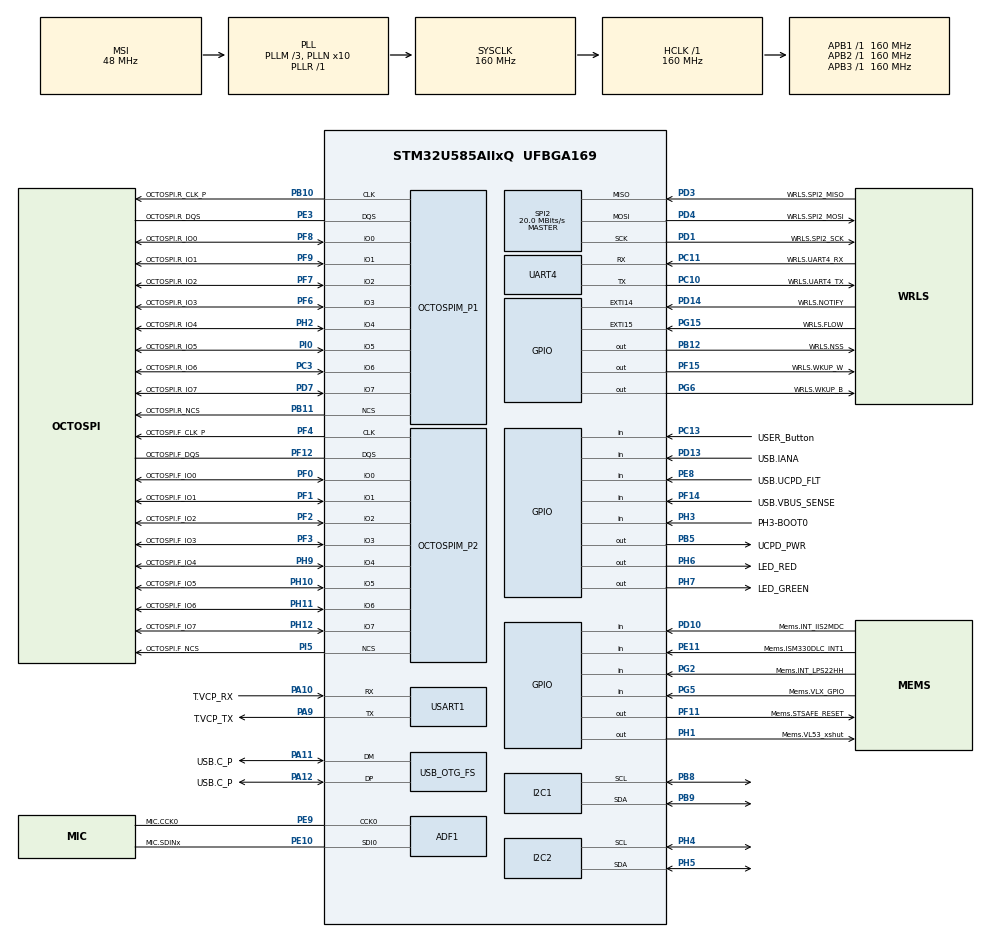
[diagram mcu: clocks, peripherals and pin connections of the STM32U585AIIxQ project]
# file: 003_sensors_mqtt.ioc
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CORTEX_M33_NS.userName=CORTEX_M33
GPDMA1.DESTINC_GPDMACH4=DMA_DINC_INCREMENTED
GPDMA1.DIRECTION_GPDMACH5=DMA_MEMORY_TO_PERIPH
GPDMA1.IPHANDLE_GPDMACH4-SIMPLEREQUEST_GPDMACH4=__NULL
GPDMA1.IPHANDLE_GPDMACH5-SIMPLEREQUEST_GPDMACH5=__NULL
GPDMA1.PRIORITY_GPDMACH4=DMA_LOW_PRIORITY_HIGH_WEIGHT
GPDMA1.PRIORITY_GPDMACH5=DMA_LOW_PRIORITY_HIGH_WEIGHT
GPDMA1.REQUEST_GPDMACH4=GPDMA1_REQUEST_SPI2_RX
GPDMA1.REQUEST_GPDMACH5=GPDMA1_REQUEST_SPI2_TX
GPDMA1.SRCINC_GPDMACH5=DMA_SINC_INCREMENTED
GPDMA1.TRANSFERALLOCATEDPORTDEST_GPDMACH4=DMA_DEST_ALLOCATED_PORT1
GPDMA1.TRANSFERALLOCATEDPORTDEST_GPDMACH5=DMA_DEST_ALLOCATED_PORT1
I2C1.Timing=0x30909DEC
I2C2.Timing=0x30909DEC
Mcu.Family=STM32U5
Mcu.Name=STM32U585AIIxQ
Mcu.Package=UFBGA169
NETXDUO.NXD_MQTT_REQUIRE_TLS=true
NETXDUO.NX_APP_MEM_POOL_SIZE=(160 * 1024)
NETXDUO.NX_DISABLE_LOOPBACK_INTERFACE=true
NETXDUO.NX_DNS_IP_GATEWAY_AND_DNS_SERVER=true
NETXDUO.NX_DRIVER_DEFERRED_PROCESSING=true
NETXDUO.NX_ENABLE_EXTENDED_NOTIFY_SUPPORT=true
NETXDUO.NX_ENABLE_IP_RAW_PACKET_FILTER=true
NETXDUO.NX_IP_PERIODIC_RATE=1000
NETXDUO.NX_PHYSICAL_HEADER=44
NETXDUO.NX_SECURE_ENABLE=true
NETXDUO.NX_TCP_IMMEDIATE_ACK=true
NVIC.EXTI14_IRQn=true\:2\:0\:true\:false\:true\:false\:true\:true\:true
NVIC.EXTI15_IRQn=true\:2\:0\:true\:false\:true\:false\:true\:true\:true
NVIC.GPDMA1_Channel4_IRQn=true\:2\:0\:true\:false\:true\:false\:false\:true\:true
NVIC.GPDMA1_Channel5_IRQn=true\:2\:0\:true\:false\:true\:false\:false\:true\:true
NVIC.PriorityGroup=NVIC_PRIORITYGROUP_4
NVIC.SPI2_IRQn=true\:2\:0\:true\:false\:true\:false\:true\:true\:true
NVIC.TIM6_IRQn=true\:0\:0\:true\:false\:true\:false\:false\:true\:true
NVIC.TimeBase=TIM6_IRQn
NVIC.TimeBaseIP=TIM6
NVIC.USART1_IRQn=true\:3\:0\:true\:false\:true\:false\:true\:true\:true
OCTOSPI1.ChipSelectBoundary=10
OCTOSPI1.ClockPrescaler=2
OCTOSPI1.DelayBlockBypass=HAL_OSPI_DELAY_BLOCK_USED
OCTOSPI1.DelayHoldQuarterCycle=HAL_OSPI_DHQC_ENABLE
OCTOSPI1.DeviceSize=23
OCTOSPI1.MemoryType=HAL_OSPI_MEMTYPE_APMEMORY
OCTOSPI1.Refresh=100
OCTOSPI2.ChipSelectBoundary=0
OCTOSPI2.ChipSelectHighTime=2
OCTOSPI2.ClockPrescaler=4
OCTOSPI2.DelayBlockBypass=HAL_OSPI_DELAY_BLOCK_USED
OCTOSPI2.DelayHoldQuarterCycle=HAL_OSPI_DHQC_ENABLE
OCTOSPI2.DeviceSize=26
OCTOSPI2.FifoThreshold=4
OCTOSPI2.MemoryType=HAL_OSPI_MEMTYPE_MACRONIX
PA10.GPIO_Label=T.VCP_RX
PA10.Mode=Asynchronous
PA10.Signal=USART1_RX
PA11.GPIO_Label=USB.C_P
PA11.Mode=Device_Only
PA11.Signal=USB_OTG_FS_DM
PA12.GPIO_Label=USB.C_P
PA12.Mode=Device_Only
PA12.Signal=USB_OTG_FS_DP
PA13\ (JTMS/SWDIO).GPIO_Label=T.SWDIO
PA13\ (JTMS/SWDIO).Mode=Trace_Asynchronous_SW
PA13\ (JTMS/SWDIO).Signal=DEBUG_JTMS-SWDIO
PA14\ (JTCK/SWCLK).GPIO_Label=T.SWCLK
PA14\ (JTCK/SWCLK).Mode=Trace_Asynchronous_SW
PA14\ (JTCK/SWCLK).Signal=DEBUG_JTCK-SWCLK
PA9.GPIO_Label=T.VCP_TX
PA9.Mode=Asynchronous
PA9.Signal=USART1_TX
PB1.GPIO_Label=MIC.SDIN0
PB1.Signal=MDF1_SDI0
PB10.GPIO_Label=OCTOSPI.R_CLK_P
PB10.Mode=O1_P1_CLK
PB10.Signal=OCTOSPIM_P1_CLK
PB11.GPIO_Label=OCTOSPI.R_NCS
PB11.Mode=OCTOSPI1_Port1_NCS
PB11.Signal=OCTOSPIM_P1_NCS
PB12.GPIO_Label=WRLS.NSS
PB12.GPIO_Speed=GPIO_SPEED_FREQ_HIGH
PB12.PinState=GPIO_PIN_SET
PB12.Signal=GPIO_Output
PB15.GPIO_Label=USB.UCPD_CC2
PB15.Signal=UCPD1_CC2
PB3\ (JTDO/TRACESWO).GPIO_Label=T.SWO
PB3\ (JTDO/TRACESWO).Mode=Trace_Asynchronous_SW
PB3\ (JTDO/TRACESWO).Signal=DEBUG_JTDO-SWO
PB5.GPIO_Label=UCPD_PWR
PB5.Signal=GPIO_Output
PB8.Mode=I2C
PB8.Signal=I2C1_SCL
PB9.Mode=I2C
PB9.Signal=I2C1_SDA
PC10.GPIO_Label=WRLS.UART4_TX
PC10.Mode=Asynchronous
PC10.Signal=UART4_TX
PC11.GPIO_Label=WRLS.UART4_RX
PC11.Mode=Asynchronous
PC11.Signal=UART4_RX
PC13.GPIO_Label=USER_Button
PC13.Signal=GPIO_Input
PC14-OSC32_IN\ (PC14).GPIO_Label=PC14-OSC32_IN
PC14-OSC32_IN\ (PC14).Mode=LSE-External-Oscillator
PC14-OSC32_IN\ (PC14).Signal=RCC_OSC32_IN
PC15-OSC32_OUT\ (PC15).GPIO_Label=PC15-OSC32_OUT
PC15-OSC32_OUT\ (PC15).Mode=LSE-External-Oscillator
PC15-OSC32_OUT\ (PC15).Signal=RCC_OSC32_OUT
PC3.GPIO_Label=OCTOSPI.R_IO6
PC3.Mode=OCTOSPI1_IOH_Port1H
PC3.Signal=OCTOSPIM_P1_IO6
PD1.GPIO_Label=WRLS.SPI2_SCK
PD1.GPIO_Speed=GPIO_SPEED_FREQ_HIGH
PD1.Mode=Full_Duplex_Master
PD1.Signal=SPI2_SCK
PD10.GPIO_Label=Mems.INT_IIS2MDC
PD10.Signal=GPIO_Input
PD13.GPIO_Label=USB.IANA
PD13.Signal=GPIO_Input
PD14.GPIO_Label=WRLS.NOTIFY
PD14.Signal=GPXTI14
PD3.GPIO_Label=WRLS.SPI2_MISO
PD3.GPIO_Speed=GPIO_SPEED_FREQ_HIGH
PD3.Mode=Full_Duplex_Master
PD3.Signal=SPI2_MISO
PD4.GPIO_Label=WRLS.SPI2_MOSI
PD4.GPIO_Speed=GPIO_SPEED_FREQ_HIGH
PD4.Mode=Full_Duplex_Master
PD4.Signal=SPI2_MOSI
PD7.GPIO_Label=OCTOSPI.R_IO7
PD7.Mode=OCTOSPI1_IOH_Port1H
PD7.Signal=OCTOSPIM_P1_IO7
PE10.GPIO_Label=MIC.SDINx
PE10.Mode=MOD_ADF_CCK
PE10.Signal=ADF1_SDI0
PE11.GPIO_Label=Mems.ISM330DLC_INT1
PE11.Signal=GPIO_Input
PE3.GPIO_Label=OCTOSPI.R_DQS
PE3.Mode=OCTOSPI1_Port1_DQS
PE3.Signal=OCTOSPIM_P1_DQS
PE8.GPIO_Label=USB.UCPD_FLT
PE8.Signal=GPIO_Input
PE9.GPIO_Label=MIC.CCK0
PE9.Mode=MOD_MDF_CCK0
PE9.Signal=ADF1_CCK0
PF0.GPIO_Label=OCTOSPI.F_IO0
PF0.Mode=OCTOSPI2_IOL_Port2L
PF0.Signal=OCTOSPIM_P2_IO0
PF1.GPIO_Label=OCTOSPI.F_IO1
PF1.Mode=OCTOSPI2_IOL_Port2L
PF1.Signal=OCTOSPIM_P2_IO1
PF10.GPIO_Label=MIC.CCK1
PF10.Signal=MDF1_CCK1
PF11.GPIO_Label=Mems.STSAFE_RESET
PF11.Signal=GPIO_Output
PF12.GPIO_Label=OCTOSPI.F_DQS
PF12.Mode=OCTOSPI2_Port2_DQS
PF12.Signal=OCTOSPIM_P2_DQS
PF14.GPIO_Label=USB.VBUS_SENSE
PF14.Signal=GPIO_Input
PF15.GPIO_Label=WRLS.WKUP_W
PF15.Signal=GPIO_Output
PF2.GPIO_Label=OCTOSPI.F_IO2
PF2.Mode=OCTOSPI2_IOL_Port2L
PF2.Signal=OCTOSPIM_P2_IO2
PF3.GPIO_Label=OCTOSPI.F_IO3
PF3.Mode=OCTOSPI2_IOL_Port2L
PF3.Signal=OCTOSPIM_P2_IO3
PF4.GPIO_Label=OCTOSPI.F_CLK_P
PF4.Mode=O2_P2_CLK
PF4.Signal=OCTOSPIM_P2_CLK
PF6.GPIO_Label=OCTOSPI.R_IO3
PF6.Mode=OCTOSPI1_IOL_Port1L
PF6.Signal=OCTOSPIM_P1_IO3
PF7.GPIO_Label=OCTOSPI.R_IO2
PF7.Mode=OCTOSPI1_IOL_Port1L
PF7.Signal=OCTOSPIM_P1_IO2
PF8.GPIO_Label=OCTOSPI.R_IO0
PF8.Mode=OCTOSPI1_IOL_Port1L
PF8.Signal=OCTOSPIM_P1_IO0
PF9.GPIO_Label=OCTOSPI.R_IO1
PF9.Mode=OCTOSPI1_IOL_Port1L
PF9.Signal=OCTOSPIM_P1_IO1
PG15.GPIO_Label=WRLS.FLOW
PG15.Signal=GPXTI15
PG2.GPIO_Label=Mems.INT_LPS22HH
PG2.Signal=GPIO_Input
PG5.GPIO_Label=Mems.VLX_GPIO
PG5.Signal=GPIO_Input
PG6.GPIO_Label=WRLS.WKUP_B
PG6.Signal=GPIO_Output
PH1-OSC_OUT\ (PH1).GPIO_Label=Mems.VL53_xshut
PH1-OSC_OUT\ (PH1).Signal=GPIO_Output
PH10.GPIO_Label=OCTOSPI.F_IO5
PH10.Mode=OCTOSPI2_IOH_Port2H
PH10.Signal=OCTOSPIM_P2_IO5
PH11.GPIO_Label=OCTOSPI.F_IO6
PH11.Mode=OCTOSPI2_IOH_Port2H
PH11.Signal=OCTOSPIM_P2_IO6
PH12.GPIO_Label=OCTOSPI.F_IO7
PH12.Mode=OCTOSPI2_IOH_Port2H
PH12.Signal=OCTOSPIM_P2_IO7
PH2.GPIO_Label=OCTOSPI.R_IO4
PH2.Mode=OCTOSPI1_IOH_Port1H
PH2.Signal=OCTOSPIM_P1_IO4
PH3-BOOT0.GPIO_Label=PH3-BOOT0
PH3-BOOT0.Signal=GPIO_Input
PH4.Mode=I2C
PH4.Signal=I2C2_SCL
PH5.Mode=I2C
PH5.Signal=I2C2_SDA
PH6.GPIO_Label=LED_RED
PH6.Signal=GPIO_Output
PH7.GPIO_Label=LED_GREEN
PH7.Signal=GPIO_Output
PH9.GPIO_Label=OCTOSPI.F_IO4
PH9.Mode=OCTOSPI2_IOH_Port2H
PH9.Signal=OCTOSPIM_P2_IO4
PI0.GPIO_Label=OCTOSPI.R_IO5
PI0.Mode=OCTOSPI1_IOH_Port1H
PI0.Signal=OCTOSPIM_P1_IO5
PI5.GPIO_Label=OCTOSPI.F_NCS
PI5.Mode=OCTOSPI2_Port2_NCS
PI5.Signal=OCTOSPIM_P2_NCS
PWR.PowerMode=PWR_SMPS_SUPPLY
ProjectManager.HeapSize=0x200
ProjectManager.StackSize=0x400
ProjectManager.TargetToolchain=STM32CubeIDE
RCC.ADCFreq_Value=16000000
RCC.AHBFreq_Value=160000000
RCC.APB1Freq_Value=160000000
RCC.APB1TimFreq_Value=160000000
RCC.APB2Freq_Value=160000000
RCC.APB2TimFreq_Value=160000000
RCC.APB3Freq_Value=160000000
RCC.CortexFreq_Value=160000000
RCC.DACCLockSelectionVirtual=RCC_DAC1CLKSOURCE_LSI
RCC.EPOD_VALUE=48000000
RCC.HCLKFreq_Value=160000000
RCC.HSE_VALUE=16000000
RCC.HSI48_VALUE=48000000
RCC.HSI_VALUE=16000000
RCC.LSIDIV_VALUE=32000
RCC.MSIClockRange=RCC_MSIRANGE_0
RCC.MSI_VALUE=48000000
RCC.PLL1R=1
RCC.PLLFRACN=0
RCC.PLLM=3
RCC.PLLN=10
RCC.SPI2CLockSelection=RCC_SPI2CLKSOURCE_PCLK1
RCC.SYSCLKFreq_VALUE=160000000
RCC.SYSCLKSource=RCC_SYSCLKSOURCE_PLLCLK
RCC.USBFreq_Value=48000000
RCC.VCOOutputFreq_Value=160000000
SPI2.BaudRatePrescaler=SPI_BAUDRATEPRESCALER_8
SPI2.CalculateBaudRate=20.0 MBits/s
SPI2.DataSize=SPI_DATASIZE_8BIT
SPI2.Direction=SPI_DIRECTION_2LINES
SPI2.Mode=SPI_MODE_MASTER
SPI2.NSSPMode=SPI_NSS_PULSE_DISABLE
SPI2.VirtualType=VM_MASTER
THREADX.TX_APP_MEM_POOL_SIZE=(2 * 1024)
THREADX.TX_MINIMUM_STACK=400
THREADX.TX_TIMER_TICKS_PER_SECOND=1000
USART1.VirtualMode-Asynchronous=VM_ASYNC
USB_OTG_FS.VirtualMode=Device_Only
VP_GPDMA1_VS_GPDMACH4.Mode=SIMPLEREQUEST_GPDMACH4
VP_GPDMA1_VS_GPDMACH5.Mode=SIMPLEREQUEST_GPDMACH5
VP_ICACHE_VS_ICACHE.Mode=DirectMappedCache
VP_LPBAMQUEUE_VS_QUEUE.Mode=QUEUEMODE
VP_LPBAM_VS_SIG1.Mode=SmartRun
VP_LPBAM_VS_SIG4.Mode=LPDMA1
VP_MEMORYMAP_VS_MEMORYMAP.Mode=CurAppReg
VP_NETXDUO_VS_AddonsOoDHCP.Mode=Addons_DHCP_Client
VP_NETXDUO_VS_AddonsOoDNS.Mode=Addons_DNS
VP_NETXDUO_VS_AddonsOoMQTT.Mode=Addons_MQTT
VP_NETXDUO_VS_AddonsOoSNTP.Mode=Addons_SNTP
VP_NETXDUO_VS_Crypto.Mode=Crypto
VP_NETXDUO_VS_NXOoCore.Mode=NX_Core
VP_NETXDUO_VS_TLS.Mode=TLS
VP_OCTOSPI1_VS_octo.Mode=octo_mode
VP_OCTOSPI2_VS_octo.Mode=octo_mode
VP_PWR_VS_DBSignals.Mode=DisableDeadBatterySignals
VP_PWR_VS_LPOM.Mode=PowerOptimisation
VP_PWR_VS_SECSignals.Mode=Security/Privilege
VP_RNG_VS_RNG.Mode=RNG_Activate
VP_SYS_VS_tim6.Mode=TIM6
VP_THREADX_VS_RTOSJjThreadXJjCoreJjDefault.Mode=Core_Default
VP_THREADX_VS_RTOSJjThreadXJjLow_Power_Support.Mode=Low_Power_Support
board=B-U585I-IOT02A

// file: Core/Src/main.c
/* USER CODE BEGIN Header */
/**
  ******************************************************************************
  * @file           : main.c
  * @brief          : Main program body
  ******************************************************************************
  * @attention
  *
  * Copyright (c) 2025 STMicroelectronics.
  * All rights reserved.
  *
  * This software is licensed under terms that can be found in the LICENSE file
  * in the root directory of this software component.
  * If no LICENSE file comes with this software, it is provided AS-IS.
  *
  ******************************************************************************
  */
/* USER CODE END Header */
#include "app_threadx.h"
#include "main.h"

/* USER CODE BEGIN Includes */
#include <stdio.h>
#include <stdlib.h>
#include <string.h>
#include <stdint.h>
#include <inttypes.h>
#if defined(__ICCARM__)
#include <LowLevelIOInterface.h>
#endif /* (__ICCARM__) */

#include "nx_driver_emw3080.h"

#include "io_pattern/mx_wifi_io.h"

/* USER CODE END Includes */

MDF_HandleTypeDef AdfHandle0;
MDF_FilterConfigTypeDef AdfFilterConfig0;

I2C_HandleTypeDef hi2c1;
I2C_HandleTypeDef hi2c2;

OSPI_HandleTypeDef hospi1;
OSPI_HandleTypeDef hospi2;

RNG_HandleTypeDef hrng;

SPI_HandleTypeDef hspi2;
DMA_HandleTypeDef handle_GPDMA1_Channel5;
DMA_HandleTypeDef handle_GPDMA1_Channel4;

UART_HandleTypeDef huart4;
UART_HandleTypeDef huart1;

PCD_HandleTypeDef hpcd_USB_OTG_FS;

/* USER CODE BEGIN PV */
#define CONSOLE_UART        huart1

#define UART_BUFFER_SIZE    (uint32_t)60
static char uart_buffer[UART_BUFFER_SIZE];
static __IO uint32_t uart_write_idx = 0;
/* USER CODE END PV */

void SystemClock_Config(void);
static void SystemPower_Config(void);
static void MX_GPIO_Init(void);
static void MX_GPDMA1_Init(void);
static void MX_ADF1_Init(void);
static void MX_I2C1_Init(void);
static void MX_I2C2_Init(void);
static void MX_ICACHE_Init(void);
static void MX_OCTOSPI1_Init(void);
static void MX_OCTOSPI2_Init(void);
static void MX_SPI2_Init(void);
static void MX_UART4_Init(void);
static void MX_USART1_UART_Init(void);
static void MX_USB_OTG_FS_PCD_Init(void);
static void MX_RNG_Init(void);

int main(void)
{

  /* MCU Configuration--------------------------------------------------------*/

  /* Reset of all peripherals, Initializes the Flash interface and the Systick. */
  HAL_Init();

  /* Configure the System Power */
  SystemPower_Config();

  /* Configure the system clock */
  SystemClock_Config();

  /* Initialize all configured peripherals */
  MX_GPIO_Init();
  MX_GPDMA1_Init();
  MX_ADF1_Init();
  MX_I2C1_Init();
  MX_I2C2_Init();
  MX_ICACHE_Init();
  MX_OCTOSPI1_Init();
  MX_OCTOSPI2_Init();
  MX_SPI2_Init();
  MX_UART4_Init();
  MX_USART1_UART_Init();
  MX_USB_OTG_FS_PCD_Init();
  MX_RNG_Init();
  /* USER CODE BEGIN 2 */

  printf("\r\n=== MXCHIP SPI Connection Test ===\r\n");

  /* Test 1: Check pin states */
  printf("Pin states:\r\n");
  printf("- WRLS_FLOW: %s\r\n", HAL_GPIO_ReadPin(WRLS_FLOW_GPIO_Port, WRLS_FLOW_Pin) ? "HIGH" : "LOW");
  printf("- WRLS_NOTIFY: %s\r\n", HAL_GPIO_ReadPin(WRLS_NOTIFY_GPIO_Port, WRLS_NOTIFY_Pin) ? "HIGH" : "LOW");
  printf("- WRLS_NSS: %s\r\n", HAL_GPIO_ReadPin(WRLS_NSS_GPIO_Port, WRLS_NSS_Pin) ? "HIGH" : "LOW");
  printf("- WRLS_WKUP_W: %s\r\n", HAL_GPIO_ReadPin(WRLS_WKUP_W_GPIO_Port, WRLS_WKUP_W_Pin) ? "HIGH" : "LOW");
  printf("- WRLS_WKUP_B: %s\r\n", HAL_GPIO_ReadPin(WRLS_WKUP_B_GPIO_Port, WRLS_WKUP_B_Pin) ? "HIGH" : "LOW");

  /* Test 2: Enable MXCHIP power */
  printf("\r\nEnabling MXCHIP power...\r\n");
  HAL_GPIO_WritePin(WRLS_WKUP_B_GPIO_Port, WRLS_WKUP_B_Pin, GPIO_PIN_SET);
  HAL_Delay(100);

  /* Test 3: Reset MXCHIP module */
  printf("Resetting MXCHIP module...\r\n");
  HAL_GPIO_WritePin(WRLS_WKUP_W_GPIO_Port, WRLS_WKUP_W_Pin, GPIO_PIN_RESET);
  HAL_Delay(100);
  HAL_GPIO_WritePin(WRLS_WKUP_W_GPIO_Port, WRLS_WKUP_W_Pin, GPIO_PIN_SET);
  HAL_Delay(2000); // Wait for module boot

  /* Test 4: Check pin states after reset */
  printf("Pin states after reset:\r\n");
  printf("- WRLS_FLOW: %s\r\n", HAL_GPIO_ReadPin(WRLS_FLOW_GPIO_Port, WRLS_FLOW_Pin) ? "HIGH" : "LOW");
  printf("- WRLS_NOTIFY: %s\r\n", HAL_GPIO_ReadPin(WRLS_NOTIFY_GPIO_Port, WRLS_NOTIFY_Pin) ? "HIGH" : "LOW");

  /* Test 5: SPI Communication Test */
  printf("\r\nTesting SPI communication...\r\n");

  // Select device (NSS low)
  HAL_GPIO_WritePin(WRLS_NSS_GPIO_Port, WRLS_NSS_Pin, GPIO_PIN_RESET);
  HAL_Delay(1);

  // Send test data
  uint8_t tx_data[4] = {0x00, 0xFF, 0xAA, 0x55};
  uint8_t rx_data[4] = {0x00, 0x00, 0x00, 0x00};
  HAL_StatusTypeDef spi_status = HAL_SPI_TransmitReceive(&hspi2, tx_data, rx_data, 4, 1000);

  // Deselect device (NSS high)
  HAL_GPIO_WritePin(WRLS_NSS_GPIO_Port, WRLS_NSS_Pin, GPIO_PIN_SET);

  printf("SPI Test Result: %s\r\n", (spi_status == HAL_OK) ? "OK" : "FAILED");
  printf("TX: [0x%02X, 0x%02X, 0x%02X, 0x%02X]\r\n", tx_data[0], tx_data[1], tx_data[2], tx_data[3]);
  printf("RX: [0x%02X, 0x%02X, 0x%02X, 0x%02X]\r\n", rx_data[0], rx_data[1], rx_data[2], rx_data[3]);
  printf("SPI ErrorCode: 0x%08lX\r\n", hspi2.ErrorCode);

  if (spi_status == HAL_OK) {
    printf("SPI communication is working!\r\n");
    HAL_GPIO_WritePin(LED_GREEN_GPIO_Port, LED_GREEN_Pin, GPIO_PIN_SET);
  } else {
    printf("SPI communication failed!\r\n");
    HAL_GPIO_WritePin(LED_RED_GPIO_Port, LED_RED_Pin, GPIO_PIN_SET);
  }

  printf("\r\n=== Test Complete ===\r\n");

  {
    {
      char welcome[] = "Welcome\n";
      uint16_t welcome_size = (uint16_t)strlen(welcome);
      HAL_UART_Transmit(&CONSOLE_UART, (uint8_t*)welcome, welcome_size, 0xFFFF);
    }
  }

  /* Force no buffer for the printf() usage. */
  setbuf(stdout, NULL);

  {
    char the_compiler[100] = {0};

#if defined(__GNUC__)
    strcat(the_compiler, " __GNUC__");
#endif /* __GNUC__ */
#if defined(__clang__)
    strcat(the_compiler, " __clang__");
#endif /* __clang__ */
#if defined(__ICCARM__)
    strcat(the_compiler, " __ICCARM__");
#endif /* __ICCARM__ */
#if defined(__ARMCC_VERSION)
    strcat(the_compiler, " __ARMCC_VERSION ");
    sprintf(&the_compiler[strlen(the_compiler)], "(%d)", __ARMCC_VERSION);
#endif /* __ARMCC_VERSION */
#if defined(__MICROLIB)
    strcat(the_compiler, " __MICROLIB");
#endif /* __MICROLIB */

    {
      const uint32_t start_counting = HAL_GetTick();
      static __IO uint32_t count = 0;
      for (__IO uint32_t i = 0; i < 1600000; i++)
      {
        count++;
      }
      {
        const uint32_t end_counting = HAL_GetTick();
        printf("\n[%" PRIu32 "] main(): %s %s  (%s)   : %" PRIu32 " ms for %" PRIu32 " loops\n\n",
               end_counting, __DATE__, __TIME__, the_compiler, end_counting - start_counting, count);
      }
    }
  }

  {
    int random_number = hardware_rand();

    /* Initialize the seed of the stdlib rand() software implementation. */
    srand((unsigned)random_number);
    printf("rand() seeded by %" PRId32 " returned %" PRId32 "\n\n", (int32_t)random_number, (int32_t)rand());
  }

  /* Start getchar under interrupt. */
  HAL_UART_Receive_IT(&CONSOLE_UART, (uint8_t *)&uart_buffer[0], 1);

  /* Force no buffer for the getc() usage. */
  setbuf(stdin, NULL);
  /* USER CODE END 2 */

  MX_ThreadX_Init();

  /* We should never get here as control is now taken by the scheduler */

  /* Infinite loop */
  while (1)
  {

  }
}

void SystemClock_Config(void)
{
  RCC_OscInitTypeDef RCC_OscInitStruct = {0};
  RCC_ClkInitTypeDef RCC_ClkInitStruct = {0};

  /** Configure the main internal regulator output voltage
  */
  if (HAL_PWREx_ControlVoltageScaling(PWR_REGULATOR_VOLTAGE_SCALE1) != HAL_OK)
  {
    Error_Handler();
  }

  /** Initializes the CPU, AHB and APB buses clocks
  */
  RCC_OscInitStruct.OscillatorType = RCC_OSCILLATORTYPE_HSI48|RCC_OSCILLATORTYPE_MSI;
  RCC_OscInitStruct.HSI48State = RCC_HSI48_ON;
  RCC_OscInitStruct.MSIState = RCC_MSI_ON;
  RCC_OscInitStruct.MSICalibrationValue = RCC_MSICALIBRATION_DEFAULT;
  RCC_OscInitStruct.MSIClockRange = RCC_MSIRANGE_0;
  RCC_OscInitStruct.PLL.PLLState = RCC_PLL_ON;
  RCC_OscInitStruct.PLL.PLLSource = RCC_PLLSOURCE_MSI;
  RCC_OscInitStruct.PLL.PLLMBOOST = RCC_PLLMBOOST_DIV4;
  RCC_OscInitStruct.PLL.PLLM = 3;
  RCC_OscInitStruct.PLL.PLLN = 10;
  RCC_OscInitStruct.PLL.PLLP = 2;
  RCC_OscInitStruct.PLL.PLLQ = 2;
  RCC_OscInitStruct.PLL.PLLR = 1;
  RCC_OscInitStruct.PLL.PLLRGE = RCC_PLLVCIRANGE_1;
  RCC_OscInitStruct.PLL.PLLFRACN = 0;
  if (HAL_RCC_OscConfig(&RCC_OscInitStruct) != HAL_OK)
  {
    Error_Handler();
  }

  /** Initializes the CPU, AHB and APB buses clocks
  */
  RCC_ClkInitStruct.ClockType = RCC_CLOCKTYPE_HCLK|RCC_CLOCKTYPE_SYSCLK
                              |RCC_CLOCKTYPE_PCLK1|RCC_CLOCKTYPE_PCLK2
                              |RCC_CLOCKTYPE_PCLK3;
  RCC_ClkInitStruct.SYSCLKSource = RCC_SYSCLKSOURCE_PLLCLK;
  RCC_ClkInitStruct.AHBCLKDivider = RCC_SYSCLK_DIV1;
  RCC_ClkInitStruct.APB1CLKDivider = RCC_HCLK_DIV1;
  RCC_ClkInitStruct.APB2CLKDivider = RCC_HCLK_DIV1;
  RCC_ClkInitStruct.APB3CLKDivider = RCC_HCLK_DIV1;

  if (HAL_RCC_ClockConfig(&RCC_ClkInitStruct, FLASH_LATENCY_4) != HAL_OK)
  {
    Error_Handler();
  }
}

/**
  * @brief Power Configuration
  * @retval None
  */
static void SystemPower_Config(void)
{
  HAL_PWREx_EnableVddIO2();

  /*
   * Disable the internal Pull-Up in Dead Battery pins of UCPD peripheral
   */
  HAL_PWREx_DisableUCPDDeadBattery();

  /*
   * Switch to SMPS regulator instead of LDO
   */
  if (HAL_PWREx_ConfigSupply(PWR_SMPS_SUPPLY) != HAL_OK)
  {
    Error_Handler();
  }
}

static void MX_ADF1_Init(void)
{

  /**
    AdfHandle0 structure initialization and HAL_MDF_Init function call
  */
  AdfHandle0.Instance = ADF1_Filter0;
  AdfHandle0.Init.CommonParam.ProcClockDivider = 1;
  AdfHandle0.Init.CommonParam.OutputClock.Activation = DISABLE;
  AdfHandle0.Init.SerialInterface.Activation = ENABLE;
  AdfHandle0.Init.SerialInterface.Mode = MDF_SITF_LF_MASTER_SPI_MODE;
  AdfHandle0.Init.SerialInterface.ClockSource = MDF_SITF_CCK0_SOURCE;
  AdfHandle0.Init.SerialInterface.Threshold = 4;
  AdfHandle0.Init.FilterBistream = MDF_BITSTREAM0_FALLING;
  if (HAL_MDF_Init(&AdfHandle0) != HAL_OK)
  {
    Error_Handler();
  }

  /**
    AdfFilterConfig0 structure initialization

    WARNING : only structure is filled, no specific init function call for filter
  */
  AdfFilterConfig0.DataSource = MDF_DATA_SOURCE_BSMX;
  AdfFilterConfig0.Delay = 0;
  AdfFilterConfig0.CicMode = MDF_ONE_FILTER_SINC4;
  AdfFilterConfig0.DecimationRatio = 2;
  AdfFilterConfig0.Gain = 0;
  AdfFilterConfig0.ReshapeFilter.Activation = DISABLE;
  AdfFilterConfig0.HighPassFilter.Activation = DISABLE;
  AdfFilterConfig0.SoundActivity.Activation = DISABLE;
  AdfFilterConfig0.AcquisitionMode = MDF_MODE_ASYNC_CONT;
  AdfFilterConfig0.FifoThreshold = MDF_FIFO_THRESHOLD_NOT_EMPTY;
  AdfFilterConfig0.DiscardSamples = 0;

}

static void MX_GPDMA1_Init(void)
{

  /* Peripheral clock enable */
  __HAL_RCC_GPDMA1_CLK_ENABLE();

  /* GPDMA1 interrupt Init */
    HAL_NVIC_SetPriority(GPDMA1_Channel4_IRQn, 2, 0);
    HAL_NVIC_EnableIRQ(GPDMA1_Channel4_IRQn);
    HAL_NVIC_SetPriority(GPDMA1_Channel5_IRQn, 2, 0);
    HAL_NVIC_EnableIRQ(GPDMA1_Channel5_IRQn);

}

static void MX_I2C1_Init(void)
{

  hi2c1.Instance = I2C1;
  hi2c1.Init.Timing = 0x30909DEC;
  hi2c1.Init.OwnAddress1 = 0;
  hi2c1.Init.AddressingMode = I2C_ADDRESSINGMODE_7BIT;
  hi2c1.Init.DualAddressMode = I2C_DUALADDRESS_DISABLE;
  hi2c1.Init.OwnAddress2 = 0;
  hi2c1.Init.OwnAddress2Masks = I2C_OA2_NOMASK;
  hi2c1.Init.GeneralCallMode = I2C_GENERALCALL_DISABLE;
  hi2c1.Init.NoStretchMode = I2C_NOSTRETCH_DISABLE;
  if (HAL_I2C_Init(&hi2c1) != HAL_OK)
  {
    Error_Handler();
  }

  /** Configure Analogue filter
  */
  if (HAL_I2CEx_ConfigAnalogFilter(&hi2c1, I2C_ANALOGFILTER_ENABLE) != HAL_OK)
  {
    Error_Handler();
  }

  /** Configure Digital filter
  */
  if (HAL_I2CEx_ConfigDigitalFilter(&hi2c1, 0) != HAL_OK)
  {
    Error_Handler();
  }

}

static void MX_I2C2_Init(void)
{

  hi2c2.Instance = I2C2;
  hi2c2.Init.Timing = 0x30909DEC;
  hi2c2.Init.OwnAddress1 = 0;
  hi2c2.Init.AddressingMode = I2C_ADDRESSINGMODE_7BIT;
  hi2c2.Init.DualAddressMode = I2C_DUALADDRESS_DISABLE;
  hi2c2.Init.OwnAddress2 = 0;
  hi2c2.Init.OwnAddress2Masks = I2C_OA2_NOMASK;
  hi2c2.Init.GeneralCallMode = I2C_GENERALCALL_DISABLE;
  hi2c2.Init.NoStretchMode = I2C_NOSTRETCH_DISABLE;
  if (HAL_I2C_Init(&hi2c2) != HAL_OK)
  {
    Error_Handler();
  }

  /** Configure Analogue filter
  */
  if (HAL_I2CEx_ConfigAnalogFilter(&hi2c2, I2C_ANALOGFILTER_ENABLE) != HAL_OK)
  {
    Error_Handler();
  }

  /** Configure Digital filter
  */
  if (HAL_I2CEx_ConfigDigitalFilter(&hi2c2, 0) != HAL_OK)
  {
    Error_Handler();
  }

}

static void MX_ICACHE_Init(void)
{

  /** Enable instruction cache in 1-way (direct mapped cache)
  */
  if (HAL_ICACHE_ConfigAssociativityMode(ICACHE_1WAY) != HAL_OK)
  {
    Error_Handler();
  }
  if (HAL_ICACHE_Enable() != HAL_OK)
  {
    Error_Handler();
  }

}

static void MX_OCTOSPI1_Init(void)
{

  OSPIM_CfgTypeDef sOspiManagerCfg = {0};
  HAL_OSPI_DLYB_CfgTypeDef HAL_OSPI_DLYB_Cfg_Struct = {0};

  /* OCTOSPI1 parameter configuration*/
  hospi1.Instance = OCTOSPI1;
  hospi1.Init.FifoThreshold = 1;
  hospi1.Init.DualQuad = HAL_OSPI_DUALQUAD_DISABLE;
  hospi1.Init.MemoryType = HAL_OSPI_MEMTYPE_APMEMORY;
  hospi1.Init.DeviceSize = 23;
  hospi1.Init.ChipSelectHighTime = 1;
  hospi1.Init.FreeRunningClock = HAL_OSPI_FREERUNCLK_DISABLE;
  hospi1.Init.ClockMode = HAL_OSPI_CLOCK_MODE_0;
  hospi1.Init.WrapSize = HAL_OSPI_WRAP_NOT_SUPPORTED;
  hospi1.Init.ClockPrescaler = 2;
  hospi1.Init.SampleShifting = HAL_OSPI_SAMPLE_SHIFTING_NONE;
  hospi1.Init.DelayHoldQuarterCycle = HAL_OSPI_DHQC_ENABLE;
  hospi1.Init.ChipSelectBoundary = 10;
  hospi1.Init.DelayBlockBypass = HAL_OSPI_DELAY_BLOCK_USED;
  hospi1.Init.MaxTran = 0;
  hospi1.Init.Refresh = 100;
  if (HAL_OSPI_Init(&hospi1) != HAL_OK)
  {
    Error_Handler();
  }
  sOspiManagerCfg.ClkPort = 1;
  sOspiManagerCfg.DQSPort = 1;
  sOspiManagerCfg.NCSPort = 1;
  sOspiManagerCfg.IOLowPort = HAL_OSPIM_IOPORT_1_LOW;
  sOspiManagerCfg.IOHighPort = HAL_OSPIM_IOPORT_1_HIGH;
  if (HAL_OSPIM_Config(&hospi1, &sOspiManagerCfg, HAL_OSPI_TIMEOUT_DEFAULT_VALUE) != HAL_OK)
  {
    Error_Handler();
  }
  HAL_OSPI_DLYB_Cfg_Struct.Units = 0;
  HAL_OSPI_DLYB_Cfg_Struct.PhaseSel = 0;
  if (HAL_OSPI_DLYB_SetConfig(&hospi1, &HAL_OSPI_DLYB_Cfg_Struct) != HAL_OK)
  {
    Error_Handler();
  }

}

static void MX_OCTOSPI2_Init(void)
{

  OSPIM_CfgTypeDef sOspiManagerCfg = {0};
  HAL_OSPI_DLYB_CfgTypeDef HAL_OSPI_DLYB_Cfg_Struct = {0};

  /* OCTOSPI2 parameter configuration*/
  hospi2.Instance = OCTOSPI2;
  hospi2.Init.FifoThreshold = 4;
  hospi2.Init.DualQuad = HAL_OSPI_DUALQUAD_DISABLE;
  hospi2.Init.MemoryType = HAL_OSPI_MEMTYPE_MACRONIX;
  hospi2.Init.DeviceSize = 26;
  hospi2.Init.ChipSelectHighTime = 2;
  hospi2.Init.FreeRunningClock = HAL_OSPI_FREERUNCLK_DISABLE;
  hospi2.Init.ClockMode = HAL_OSPI_CLOCK_MODE_0;
  hospi2.Init.WrapSize = HAL_OSPI_WRAP_NOT_SUPPORTED;
  hospi2.Init.ClockPrescaler = 4;
  hospi2.Init.SampleShifting = HAL_OSPI_SAMPLE_SHIFTING_NONE;
  hospi2.Init.DelayHoldQuarterCycle = HAL_OSPI_DHQC_ENABLE;
  hospi2.Init.ChipSelectBoundary = 0;
  hospi2.Init.DelayBlockBypass = HAL_OSPI_DELAY_BLOCK_USED;
  hospi2.Init.MaxTran = 0;
  hospi2.Init.Refresh = 0;
  if (HAL_OSPI_Init(&hospi2) != HAL_OK)
  {
    Error_Handler();
  }
  sOspiManagerCfg.ClkPort = 2;
  sOspiManagerCfg.DQSPort = 2;
  sOspiManagerCfg.NCSPort = 2;
  sOspiManagerCfg.IOLowPort = HAL_OSPIM_IOPORT_2_LOW;
  sOspiManagerCfg.IOHighPort = HAL_OSPIM_IOPORT_2_HIGH;
  if (HAL_OSPIM_Config(&hospi2, &sOspiManagerCfg, HAL_OSPI_TIMEOUT_DEFAULT_VALUE) != HAL_OK)
  {
    Error_Handler();
  }
  HAL_OSPI_DLYB_Cfg_Struct.Units = 0;
  HAL_OSPI_DLYB_Cfg_Struct.PhaseSel = 0;
  if (HAL_OSPI_DLYB_SetConfig(&hospi2, &HAL_OSPI_DLYB_Cfg_Struct) != HAL_OK)
  {
    Error_Handler();
  }

}

static void MX_RNG_Init(void)
{

  hrng.Instance = RNG;
  hrng.Init.ClockErrorDetection = RNG_CED_ENABLE;
  if (HAL_RNG_Init(&hrng) != HAL_OK)
  {
    Error_Handler();
  }

}

static void MX_SPI2_Init(void)
{

  SPI_AutonomousModeConfTypeDef HAL_SPI_AutonomousMode_Cfg_Struct = {0};

  /* SPI2 parameter configuration*/
  hspi2.Instance = SPI2;
  hspi2.Init.Mode = SPI_MODE_MASTER;
  hspi2.Init.Direction = SPI_DIRECTION_2LINES;
  hspi2.Init.DataSize = SPI_DATASIZE_8BIT;
  hspi2.Init.CLKPolarity = SPI_POLARITY_LOW;
  hspi2.Init.CLKPhase = SPI_PHASE_1EDGE;
  hspi2.Init.NSS = SPI_NSS_SOFT;
  hspi2.Init.BaudRatePrescaler = SPI_BAUDRATEPRESCALER_8;
  hspi2.Init.FirstBit = SPI_FIRSTBIT_MSB;
  hspi2.Init.TIMode = SPI_TIMODE_DISABLE;
  hspi2.Init.CRCCalculation = SPI_CRCCALCULATION_DISABLE;
  hspi2.Init.CRCPolynomial = 0x7;
  hspi2.Init.NSSPMode = SPI_NSS_PULSE_DISABLE;
  hspi2.Init.NSSPolarity = SPI_NSS_POLARITY_LOW;
  hspi2.Init.FifoThreshold = SPI_FIFO_THRESHOLD_01DATA;
  hspi2.Init.MasterSSIdleness = SPI_MASTER_SS_IDLENESS_00CYCLE;
  hspi2.Init.MasterInterDataIdleness = SPI_MASTER_INTERDATA_IDLENESS_00CYCLE;
  hspi2.Init.MasterReceiverAutoSusp = SPI_MASTER_RX_AUTOSUSP_DISABLE;
  hspi2.Init.MasterKeepIOState = SPI_MASTER_KEEP_IO_STATE_DISABLE;
  hspi2.Init.IOSwap = SPI_IO_SWAP_DISABLE;
  hspi2.Init.ReadyMasterManagement = SPI_RDY_MASTER_MANAGEMENT_INTERNALLY;
  hspi2.Init.ReadyPolarity = SPI_RDY_POLARITY_HIGH;
  if (HAL_SPI_Init(&hspi2) != HAL_OK)
  {
    Error_Handler();
  }
  HAL_SPI_AutonomousMode_Cfg_Struct.TriggerState = SPI_AUTO_MODE_DISABLE;
  HAL_SPI_AutonomousMode_Cfg_Struct.TriggerSelection = SPI_GRP1_GPDMA_CH0_TCF_TRG;
  HAL_SPI_AutonomousMode_Cfg_Struct.TriggerPolarity = SPI_TRIG_POLARITY_RISING;
  if (HAL_SPIEx_SetConfigAutonomousMode(&hspi2, &HAL_SPI_AutonomousMode_Cfg_Struct) != HAL_OK)
  {
    Error_Handler();
  }

}

static void MX_UART4_Init(void)
{

  huart4.Instance = UART4;
  huart4.Init.BaudRate = 115200;
  huart4.Init.WordLength = UART_WORDLENGTH_8B;
  huart4.Init.StopBits = UART_STOPBITS_1;
  huart4.Init.Parity = UART_PARITY_NONE;
  huart4.Init.Mode = UART_MODE_TX_RX;
  huart4.Init.HwFlowCtl = UART_HWCONTROL_NONE;
  huart4.Init.OverSampling = UART_OVERSAMPLING_16;
  huart4.Init.OneBitSampling = UART_ONE_BIT_SAMPLE_DISABLE;
  huart4.Init.ClockPrescaler = UART_PRESCALER_DIV1;
  huart4.AdvancedInit.AdvFeatureInit = UART_ADVFEATURE_NO_INIT;
  if (HAL_UART_Init(&huart4) != HAL_OK)
  {
    Error_Handler();
  }
  if (HAL_UARTEx_SetTxFifoThreshold(&huart4, UART_TXFIFO_THRESHOLD_1_8) != HAL_OK)
  {
    Error_Handler();
  }
  if (HAL_UARTEx_SetRxFifoThreshold(&huart4, UART_RXFIFO_THRESHOLD_1_8) != HAL_OK)
  {
    Error_Handler();
  }
  if (HAL_UARTEx_DisableFifoMode(&huart4) != HAL_OK)
  {
    Error_Handler();
  }

}

static void MX_USART1_UART_Init(void)
{

  huart1.Instance = USART1;
  huart1.Init.BaudRate = 115200;
  huart1.Init.WordLength = UART_WORDLENGTH_8B;
  huart1.Init.StopBits = UART_STOPBITS_1;
  huart1.Init.Parity = UART_PARITY_NONE;
  huart1.Init.Mode = UART_MODE_TX_RX;
  huart1.Init.HwFlowCtl = UART_HWCONTROL_NONE;
  huart1.Init.OverSampling = UART_OVERSAMPLING_16;
  huart1.Init.OneBitSampling = UART_ONE_BIT_SAMPLE_DISABLE;
  huart1.Init.ClockPrescaler = UART_PRESCALER_DIV1;
  huart1.AdvancedInit.AdvFeatureInit = UART_ADVFEATURE_NO_INIT;
  if (HAL_UART_Init(&huart1) != HAL_OK)
  {
    Error_Handler();
  }
  if (HAL_UARTEx_SetTxFifoThreshold(&huart1, UART_TXFIFO_THRESHOLD_1_8) != HAL_OK)
  {
    Error_Handler();
  }
  if (HAL_UARTEx_SetRxFifoThreshold(&huart1, UART_RXFIFO_THRESHOLD_1_8) != HAL_OK)
  {
    Error_Handler();
  }
  if (HAL_UARTEx_DisableFifoMode(&huart1) != HAL_OK)
  {
    Error_Handler();
  }

}

static void MX_USB_OTG_FS_PCD_Init(void)
{

  hpcd_USB_OTG_FS.Instance = USB_OTG_FS;
  hpcd_USB_OTG_FS.Init.dev_endpoints = 6;
  hpcd_USB_OTG_FS.Init.speed = PCD_SPEED_FULL;
  hpcd_USB_OTG_FS.Init.phy_itface = PCD_PHY_EMBEDDED;
  hpcd_USB_OTG_FS.Init.Sof_enable = DISABLE;
  hpcd_USB_OTG_FS.Init.low_power_enable = DISABLE;
  hpcd_USB_OTG_FS.Init.lpm_enable = DISABLE;
  hpcd_USB_OTG_FS.Init.battery_charging_enable = DISABLE;
  hpcd_USB_OTG_FS.Init.use_dedicated_ep1 = DISABLE;
  hpcd_USB_OTG_FS.Init.vbus_sensing_enable = DISABLE;
  hpcd_USB_OTG_FS.Init.dma_enable = DISABLE;
  if (HAL_PCD_Init(&hpcd_USB_OTG_FS) != HAL_OK)
  {
    Error_Handler();
  }

}

static void MX_GPIO_Init(void)
{
  GPIO_InitTypeDef GPIO_InitStruct = {0};

  /* GPIO Ports Clock Enable */
  __HAL_RCC_GPIOG_CLK_ENABLE();
  __HAL_RCC_GPIOC_CLK_ENABLE();
  __HAL_RCC_GPIOI_CLK_ENABLE();
  __HAL_RCC_GPIOH_CLK_ENABLE();
  __HAL_RCC_GPIOB_CLK_ENABLE();
  __HAL_RCC_GPIOD_CLK_ENABLE();
  __HAL_RCC_GPIOA_CLK_ENABLE();
  __HAL_RCC_GPIOE_CLK_ENABLE();
  __HAL_RCC_GPIOF_CLK_ENABLE();

  /*Configure GPIO pin Output Level */
  HAL_GPIO_WritePin(UCPD_PWR_GPIO_Port, UCPD_PWR_Pin, GPIO_PIN_RESET);

  /*Configure GPIO pin Output Level */
  HAL_GPIO_WritePin(GPIOH, LED_RED_Pin|LED_GREEN_Pin|Mems_VL53_xshut_Pin, GPIO_PIN_RESET);

  /*Configure GPIO pin Output Level */
  HAL_GPIO_WritePin(WRLS_WKUP_B_GPIO_Port, WRLS_WKUP_B_Pin, GPIO_PIN_RESET);

  /*Configure GPIO pin Output Level */
  HAL_GPIO_WritePin(WRLS_NSS_GPIO_Port, WRLS_NSS_Pin, GPIO_PIN_SET);

  /*Configure GPIO pin Output Level */
  HAL_GPIO_WritePin(GPIOF, Mems_STSAFE_RESET_Pin|WRLS_WKUP_W_Pin, GPIO_PIN_RESET);

  /*Configure GPIO pin : WRLS_FLOW_Pin */
  GPIO_InitStruct.Pin = WRLS_FLOW_Pin;
  GPIO_InitStruct.Mode = GPIO_MODE_IT_RISING;
  GPIO_InitStruct.Pull = GPIO_NOPULL;
  HAL_GPIO_Init(WRLS_FLOW_GPIO_Port, &GPIO_InitStruct);

  /*Configure GPIO pin : PH3_BOOT0_Pin */
  GPIO_InitStruct.Pin = PH3_BOOT0_Pin;
  GPIO_InitStruct.Mode = GPIO_MODE_INPUT;
  GPIO_InitStruct.Pull = GPIO_NOPULL;
  HAL_GPIO_Init(PH3_BOOT0_GPIO_Port, &GPIO_InitStruct);

  /*Configure GPIO pin : UCPD_PWR_Pin */
  GPIO_InitStruct.Pin = UCPD_PWR_Pin;
  GPIO_InitStruct.Mode = GPIO_MODE_OUTPUT_PP;
  GPIO_InitStruct.Pull = GPIO_NOPULL;
  GPIO_InitStruct.Speed = GPIO_SPEED_FREQ_LOW;
  HAL_GPIO_Init(UCPD_PWR_GPIO_Port, &GPIO_InitStruct);

  /*Configure GPIO pin : USER_Button_Pin */
  GPIO_InitStruct.Pin = USER_Button_Pin;
  GPIO_InitStruct.Mode = GPIO_MODE_INPUT;
  GPIO_InitStruct.Pull = GPIO_NOPULL;
  HAL_GPIO_Init(USER_Button_GPIO_Port, &GPIO_InitStruct);

  /*Configure GPIO pins : LED_RED_Pin LED_GREEN_Pin Mems_VL53_xshut_Pin */
  GPIO_InitStruct.Pin = LED_RED_Pin|LED_GREEN_Pin|Mems_VL53_xshut_Pin;
  GPIO_InitStruct.Mode = GPIO_MODE_OUTPUT_PP;
  GPIO_InitStruct.Pull = GPIO_NOPULL;
  GPIO_InitStruct.Speed = GPIO_SPEED_FREQ_LOW;
  HAL_GPIO_Init(GPIOH, &GPIO_InitStruct);

  /*Configure GPIO pin : MIC_CCK1_Pin */
  GPIO_InitStruct.Pin = MIC_CCK1_Pin;
  GPIO_InitStruct.Mode = GPIO_MODE_AF_PP;
  GPIO_InitStruct.Pull = GPIO_NOPULL;
  GPIO_InitStruct.Speed = GPIO_SPEED_FREQ_LOW;
  GPIO_InitStruct.Alternate = GPIO_AF6_MDF1;
  HAL_GPIO_Init(MIC_CCK1_GPIO_Port, &GPIO_InitStruct);

  /*Configure GPIO pin : WRLS_WKUP_B_Pin */
  GPIO_InitStruct.Pin = WRLS_WKUP_B_Pin;
  GPIO_InitStruct.Mode = GPIO_MODE_OUTPUT_PP;
  GPIO_InitStruct.Pull = GPIO_NOPULL;
  GPIO_InitStruct.Speed = GPIO_SPEED_FREQ_LOW;
  HAL_GPIO_Init(WRLS_WKUP_B_GPIO_Port, &GPIO_InitStruct);

  /*Configure GPIO pins : Mems_VLX_GPIO_Pin Mems_INT_LPS22HH_Pin */
  GPIO_InitStruct.Pin = Mems_VLX_GPIO_Pin|Mems_INT_LPS22HH_Pin;
  GPIO_InitStruct.Mode = GPIO_MODE_INPUT;
  GPIO_InitStruct.Pull = GPIO_NOPULL;
  HAL_GPIO_Init(GPIOG, &GPIO_InitStruct);

  /*Configure GPIO pin : WRLS_NOTIFY_Pin */
  GPIO_InitStruct.Pin = WRLS_NOTIFY_Pin;
  GPIO_InitStruct.Mode = GPIO_MODE_IT_RISING;
  GPIO_InitStruct.Pull = GPIO_NOPULL;
  HAL_GPIO_Init(WRLS_NOTIFY_GPIO_Port, &GPIO_InitStruct);

  /*Configure GPIO pins : USB_UCPD_FLT_Pin Mems_ISM330DLC_INT1_Pin */
  GPIO_InitStruct.Pin = USB_UCPD_FLT_Pin|Mems_ISM330DLC_INT1_Pin;
  GPIO_InitStruct.Mode = GPIO_MODE_INPUT;
  GPIO_InitStruct.Pull = GPIO_NOPULL;
  HAL_GPIO_Init(GPIOE, &GPIO_InitStruct);

  /*Configure GPIO pins : Mems_INT_IIS2MDC_Pin USB_IANA_Pin */
  GPIO_InitStruct.Pin = Mems_INT_IIS2MDC_Pin|USB_IANA_Pin;
  GPIO_InitStruct.Mode = GPIO_MODE_INPUT;
  GPIO_InitStruct.Pull = GPIO_NOPULL;
  HAL_GPIO_Init(GPIOD, &GPIO_InitStruct);

  /*Configure GPIO pin : USB_VBUS_SENSE_Pin */
  GPIO_InitStruct.Pin = USB_VBUS_SENSE_Pin;
  GPIO_InitStruct.Mode = GPIO_MODE_INPUT;
  GPIO_InitStruct.Pull = GPIO_NOPULL;
  HAL_GPIO_Init(USB_VBUS_SENSE_GPIO_Port, &GPIO_InitStruct);

  /*Configure GPIO pin : WRLS_NSS_Pin */
  GPIO_InitStruct.Pin = WRLS_NSS_Pin;
  GPIO_InitStruct.Mode = GPIO_MODE_OUTPUT_PP;
  GPIO_InitStruct.Pull = GPIO_NOPULL;
  GPIO_InitStruct.Speed = GPIO_SPEED_FREQ_HIGH;
  HAL_GPIO_Init(WRLS_NSS_GPIO_Port, &GPIO_InitStruct);

  /*Configure GPIO pin : USB_UCPD_CC2_Pin */
  GPIO_InitStruct.Pin = USB_UCPD_CC2_Pin;
  GPIO_InitStruct.Mode = GPIO_MODE_ANALOG;
  GPIO_InitStruct.Pull = GPIO_NOPULL;
  HAL_GPIO_Init(USB_UCPD_CC2_GPIO_Port, &GPIO_InitStruct);

  /*Configure GPIO pins : Mems_STSAFE_RESET_Pin WRLS_WKUP_W_Pin */
  GPIO_InitStruct.Pin = Mems_STSAFE_RESET_Pin|WRLS_WKUP_W_Pin;
  GPIO_InitStruct.Mode = GPIO_MODE_OUTPUT_PP;
  GPIO_InitStruct.Pull = GPIO_NOPULL;
  GPIO_InitStruct.Speed = GPIO_SPEED_FREQ_LOW;
  HAL_GPIO_Init(GPIOF, &GPIO_InitStruct);

  /*Configure GPIO pin : MIC_SDIN0_Pin */
  GPIO_InitStruct.Pin = MIC_SDIN0_Pin;
  GPIO_InitStruct.Mode = GPIO_MODE_AF_PP;
  GPIO_InitStruct.Pull = GPIO_NOPULL;
  GPIO_InitStruct.Speed = GPIO_SPEED_FREQ_LOW;
  GPIO_InitStruct.Alternate = GPIO_AF6_MDF1;
  HAL_GPIO_Init(MIC_SDIN0_GPIO_Port, &GPIO_InitStruct);

  /* EXTI interrupt init*/
  HAL_NVIC_SetPriority(EXTI14_IRQn, 2, 0);
  HAL_NVIC_EnableIRQ(EXTI14_IRQn);

  HAL_NVIC_SetPriority(EXTI15_IRQn, 2, 0);
  HAL_NVIC_EnableIRQ(EXTI15_IRQn);

}

/* USER CODE BEGIN 4 */
#if (defined(__GNUC__) && !defined(__ARMCC_VERSION))
/**
  * With GCC,
  * small printf (option LD Linker->Libraries->Small printf set to 'Yes')
  * calls __io_putchar()
  */
#define PUTCHAR_PROTOTYPE int __io_putchar(int ch)

#elif defined(__ICCARM__)
int iar_fputc(int ch);
#define PUTCHAR_PROTOTYPE int iar_fputc(int ch)

#elif defined(__ARMCC_VERSION)
#ifdef __MICROLIB
#define PUTCHAR_PROTOTYPE int fputc(int ch, FILE *f)
#else
int stdout_putchar(int ch);
#define PUTCHAR_PROTOTYPE int stdout_putchar(int ch)
int stderr_putchar(int ch) { return stdout_putchar(ch); }
void ttywrch(int ch) { stdout_putchar(ch); }
#endif /* __MICROLIB */
#endif /* __GNUC__ */

/**
  * @brief  Retargets the C library printf function to the USART.
  * @param  None
  * @retval None
  */
int __io_putchar(int ch)
{
  HAL_UART_Transmit(&huart1, (uint8_t *)&ch, 1, HAL_MAX_DELAY);
  return ch;
}

#if defined(__ICCARM__)
size_t __write(int file, unsigned char const *ptr, size_t len)
{
  size_t idx;
  unsigned char const *pdata = ptr;

  for (idx = 0; idx < len; idx++)
  {
    iar_fputc((int)*pdata);
    pdata++;
  }
  return len;
}
#endif /* __ICCARM__ */

#if (defined(__GNUC__) && !defined(__ARMCC_VERSION))
#define GETCHAR_PROTOTYPE int __io_getchar(void)

#elif defined(__ICCARM__)
#define GETCHAR_PROTOTYPE int fgetc(FILE *f)

#elif defined(__ARMCC_VERSION)
#ifdef __MICROLIB
#define GETCHAR_PROTOTYPE int fgetc(FILE *f)
#else
int stdin_getchar(void);
#define GETCHAR_PROTOTYPE int stdin_getchar(void)
#endif /* __MICROLIB */
#endif /* __GNUC__ */

/**
  * @brief  Retargets the C library scanf function to the USART.
  * @param  None
  * @retval None
  */
GETCHAR_PROTOTYPE
{
  static uint32_t uart_read_idx = 0;
  char ch;

  while (uart_write_idx == uart_read_idx);

  ch = uart_buffer[uart_read_idx++];
  if (uart_read_idx == UART_BUFFER_SIZE)
  {
    uart_read_idx = 0;
  }
  return ch;
}

/**
  * @brief Rx Transfer completed callback.
  * @param  hspi: pointer to a SPI_HandleTypeDef structure that contains
  *               the configuration information for the SPI module.
  * @retval None
  */
void HAL_SPI_RxCpltCallback(SPI_HandleTypeDef *hspi)
{
  if (hspi == &MXCHIP_SPI)
  {
    HAL_SPI_TransferCallback(hspi);
  }
}

/**
  * @brief Tx Transfer completed callback.
  * @param  hspi: pointer to a SPI_HandleTypeDef structure that contains
  *               the configuration information for the SPI module.
  * @retval None
  */
void HAL_SPI_TxCpltCallback(SPI_HandleTypeDef *hspi)
{
  if (hspi == &MXCHIP_SPI)
  {
    HAL_SPI_TransferCallback(hspi);
  }
}

/**
  * @brief Tx and Rx Transfer completed callback.
  * @param  hspi: pointer to a SPI_HandleTypeDef structure that contains
  *               the configuration information for the SPI module.
  * @retval None
  */
void HAL_SPI_TxRxCpltCallback(SPI_HandleTypeDef *hspi)
{
  if (hspi == &MXCHIP_SPI)
  {
    HAL_SPI_TransferCallback(hspi);
  }
}

/**
  * @brief  EXTI line rising detection callback.
  * @param  GPIO_Pin: Specifies the port pin connected to corresponding EXTI line.
  * @retval None
  */
void HAL_GPIO_EXTI_Rising_Callback(uint16_t GPIO_Pin)
{
  switch (GPIO_Pin)
  {
    case (MXCHIP_FLOW_Pin):
      mxchip_WIFI_ISR(MXCHIP_FLOW_Pin);
      nx_driver_emw3080_interrupt();
      break;

    case (MXCHIP_NOTIFY_Pin):
      mxchip_WIFI_ISR(MXCHIP_NOTIFY_Pin);
      nx_driver_emw3080_interrupt();
      break;
    default:
      break;
  }
}

void HAL_UART_RxCpltCallback(UART_HandleTypeDef *huart)
{
  if (huart == &CONSOLE_UART)
  {
    uart_write_idx++;
    if (uart_write_idx == UART_BUFFER_SIZE)
    {
      uart_write_idx = 0;
    }
    HAL_UART_Receive_IT(huart, (uint8_t *)&uart_buffer[uart_write_idx], 1);
  }
}

/* Alternative to HAL_RNG_GenerateRandomNumber(). */
/* MX_RNG_Init() MUST be called before usage of this function. */
int hardware_rand(void)
{
  /* Wait for data ready. */
  while ((hrng.Instance->SR & RNG_SR_DRDY) == 0);

  /* Return the random number. */
  return ((int)hrng.Instance->DR);
}
/* USER CODE END 4 */

void HAL_TIM_PeriodElapsedCallback(TIM_HandleTypeDef *htim)
{
  if (htim->Instance == TIM6)
  {
    HAL_IncTick();
  }
}

void Error_Handler(void)
{
  /* USER CODE BEGIN Error_Handler_Debug */
  /* User can add his own implementation to report the HAL error return state */
	printf("\n\nError_Handler()>\n");
  __disable_irq();
  while (1)
  {
  }
  /* USER CODE END Error_Handler_Debug */
}
